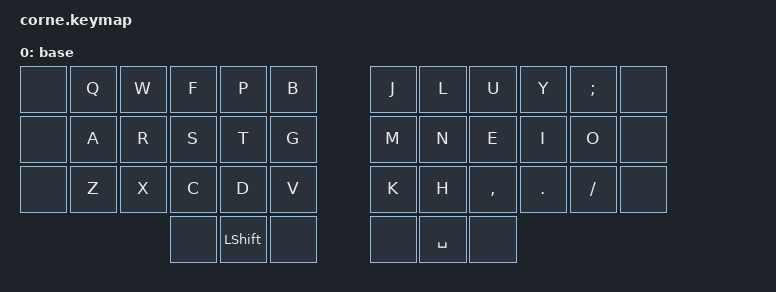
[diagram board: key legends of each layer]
/*
 * Copyright (c) 2020 The ZMK Contributors
 *
 * SPDX-License-Identifier: MIT
 */

#include <behaviors.dtsi>
#include <dt-bindings/zmk/keys.h>
#include <dt-bindings/zmk/bt.h>

#include "zmk-helpers/helper.h"

// Source desired key-position labels
#include "zmk-helpers/key-labels/42.h"

/*                                      42 KEY MATRIX / LAYOUT MAPPING

  ╭────────────────────────┬────────────────────────╮ ╭─────────────────────────┬─────────────────────────╮
  │  0   1   2   3   4   5 │  6   7   8   9  10  11 │ │ LT5 LT4 LT3 LT2 LT1 LT0 │ RT0 RT1 RT2 RT3 RT4 RT5 │
  │ 12  13  14  15  16  17 │ 18  19  20  21  22  23 │ │ LM5 LM4 LM3 LM2 LM1 LM0 │ RM0 RM1 RM2 RM3 RM4 RM5 │
  │ 24  25  26  27  28  29 │ 30  31  32  33  34  35 │ │ LB5 LB4 LB3 LB2 LB1 LB0 │ RB0 RB1 RB2 RB3 RB4 RB5 │
  ╰───────────╮ 36  37  38 │ 39  40  41 ╭───────────╯ ╰───────────╮ LH2 LH1 LH0 │ RH0 RH1 RH2 ╭───────────╯
              ╰────────────┴────────────╯                         ╰─────────────┴─────────────╯             */

ZMK_LAYER(base,
//╭─────────────┬─────────────┬─────────────┬─────────────┬─────────────┬─────────────╮ ╭─────────────┬─────────────┬─────────────┬─────────────┬─────────────┬─────────────╮
    &none         &kp Q         &kp W         &kp F         &kp P         &kp B           &kp J         &kp L         &kp U         &kp Y         &kp SEMI      &none
//├─────────────┼─────────────┼─────────────┼─────────────┼─────────────┼─────────────┤ ├─────────────┼─────────────┼─────────────┼─────────────┼─────────────┼─────────────┤
    &none         &kp A         &kp R         &kp S         &kp T         &kp G           &kp M         &kp N         &kp E         &kp I         &kp O         &none
//├─────────────┼─────────────┼─────────────┼─────────────┼─────────────┼─────────────┤ ├─────────────┼─────────────┼─────────────┼─────────────┼─────────────┼─────────────┤
    &none         &kp Z         &kp X         &kp C         &kp D         &kp V           &kp K         &kp H         &kp COMMA     &kp DOT       &kp FSLH      &none
//╰─────────────┴─────────────┴─────────────┼─────────────┼─────────────┼─────────────┤ ├─────────────┼─────────────┼─────────────┼───────────────────────────┴─────────────╯
                                              &none         &kp LSHFT     &none           &none         &kp SPACE     &none
//                                          ╰─────────────┴─────────────┴─────────────╯ ╰─────────────┴─────────────┴─────────────╯
)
